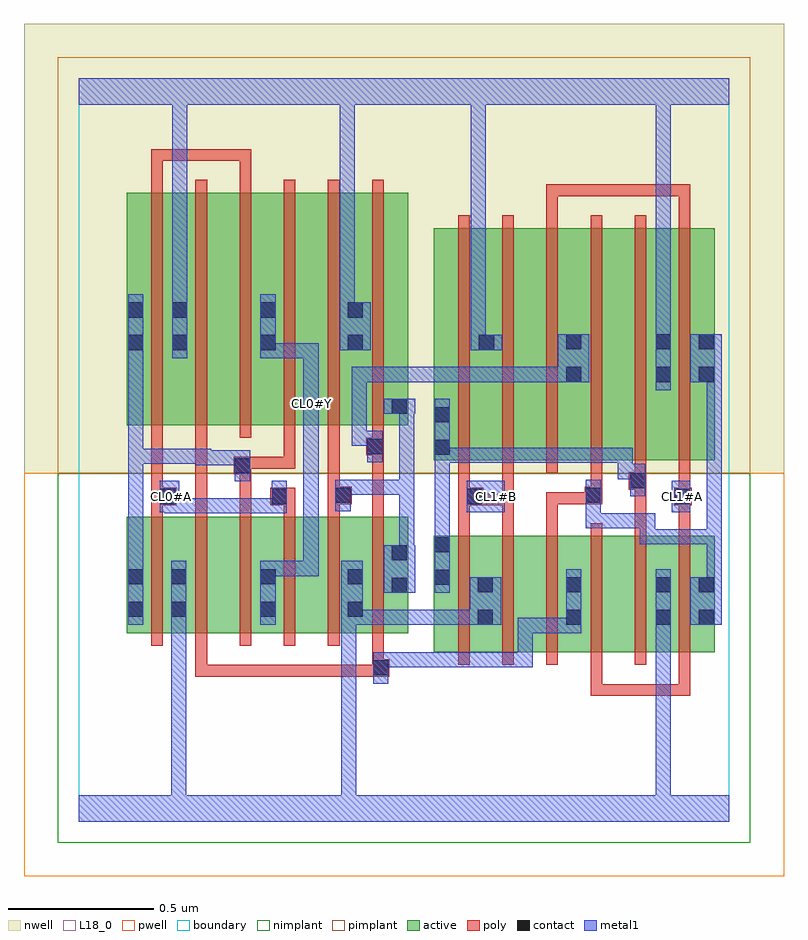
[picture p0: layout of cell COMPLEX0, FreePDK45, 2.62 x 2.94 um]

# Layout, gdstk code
import gdstk
lib = gdstk.Library(unit=1e-6, precision=1e-09)
def R(c, l, rs):  # rectangles x0, y0, x1, y1
    for r in rs: c.add(gdstk.rectangle(r[:2], r[2:], *l))
def A(c, l, x, y, w, h, nx, ny, dx, dy):  # array of equal rectangles
    R(c, l, [(x+i*dx, y+j*dy, x+i*dx+w, y+j*dy+h) for i in range(nx) for j in range(ny)])
active = (1, 0)
pwell = (2, 0)
nwell = (3, 0)
nimplant = (4, 0)
pimplant = (5, 0)
poly = (9, 0)
contact = (10, 0)
metal1 = (11, 0)
L18_0 = (18, 0)
boundary = (235, 0)

complex0 = lib.new_cell('COMPLEX0')
R(complex0, active, [(1.222,0.584,1.43,0.984), (1.37,0.584,1.43,0.984), (1.37,0.584,1.554,0.984), (1.554,0.584,1.734,0.984), (1.674,0.584,1.734,0.846), (1.674,0.584,1.858,0.984), (1.858,0.584,2.042,0.984), (1.982,0.584,2.19,0.984), (1.982,0.584,2.042,0.846), (2.13,0.584,2.19,0.984), (0.166,0.65,0.226,1.05), (0.166,0.65,0.374,1.05), (0.314,0.65,0.498,1.05), (0.314,0.65,0.374,0.874), (0.498,0.65,0.682,1.05), (0.622,0.65,0.802,1.05), (0.622,0.65,0.682,0.874), (0.802,0.65,0.982,1.05), (0.922,0.65,1.134,1.05), (0.922,0.65,0.982,0.874), (1.074,0.756,1.134,1.05), (1.222,0.756,1.282,0.984), (1.222,1.244,1.282,2.044), (1.222,1.244,1.434,2.044), (1.374,1.244,1.554,2.044), (1.554,1.244,1.734,2.044), (1.674,1.244,1.734,2.044), (1.674,1.244,1.858,2.044), (1.858,1.244,2.042,2.044), (1.982,1.244,2.042,2.044), (1.982,1.244,2.19,2.044), (2.13,1.244,2.19,2.044), (1.374,1.348,1.434,2.044), (0.166,1.366,0.378,2.166), (0.166,1.366,0.226,2.044), (0.318,1.366,0.498,2.166), (0.318,1.366,0.378,2.044), (0.498,1.366,0.682,2.166), (0.622,1.366,0.802,2.166), (0.622,1.366,0.682,2.044), (0.802,1.366,0.982,2.166), (0.922,1.366,1.134,2.166), (0.922,1.366,0.982,2.044), (1.074,1.366,1.134,2.044)])
R(complex0, pwell, [(-0.188,-0.188,2.428,1.2)])
R(complex0, nwell, [(-0.188,1.2,2.428,2.748)])
R(complex0, nimplant, [(-0.072,-0.072,2.312,1.2)])
R(complex0, pimplant, [(-0.072,1.2,2.312,2.632)])
A(complex0, poly, 1.306, 0.54, 0.04, 0.488, 6, 1, 0.152, 0)
A(complex0, poly, 0.25, 0.606, 0.04, 0.488, 6, 1, 0.152, 0)
A(complex0, poly, 1.306, 1.2, 0.04, 0.888, 6, 1, 0.152, 0)
A(complex0, poly, 0.25, 1.322, 0.04, 0.888, 6, 1, 0.152, 0)
R(complex0, poly, [(1.762,0.434,1.802,0.58), (1.762,0.434,1.802,0.474), (1.762,0.434,1.802,0.474), (1.762,0.434,1.802,0.474), (1.762,0.434,1.908,0.474), (1.868,0.434,1.908,0.474), (1.868,0.434,2.106,0.474), (2.066,0.434,2.106,0.58), (2.066,0.434,2.106,0.474), (2.066,0.434,2.106,0.474), (2.066,0.434,2.106,0.474), (0.402,0.5,0.442,0.646), (0.402,0.5,0.442,0.54), (0.402,0.5,0.548,0.54), (0.508,0.5,0.548,0.54), (0.508,0.5,0.548,0.54), (0.508,0.5,0.548,0.54), (0.508,0.5,0.792,0.54), (0.752,0.5,0.792,0.54), (0.752,0.5,0.792,0.54), (0.752,0.5,0.792,0.54), (0.752,0.5,0.924,0.54), (0.884,0.5,0.924,0.54), (0.884,0.5,0.924,0.54), (0.884,0.5,0.924,0.54), (0.884,0.5,1.05,0.54), (1.01,0.5,1.05,0.54), (1.01,0.5,1.05,0.54), (1.01,0.5,1.07,0.56), (1.01,0.52,1.05,0.646), (1.306,0.988,1.346,1.13), (1.458,0.988,1.498,1.13), (1.61,0.988,1.65,1.134), (1.914,0.988,1.954,1.184), (2.066,0.988,2.106,1.13), (0.25,1.054,0.29,1.13), (0.402,1.054,0.442,1.326), (0.554,1.054,0.594,1.236), (0.706,1.054,0.746,1.13), (0.858,1.054,0.898,1.134), (1.01,1.054,1.05,1.302), (0.25,1.09,0.336,1.15), (0.66,1.09,0.746,1.15), (1.306,1.09,1.392,1.15), (1.352,1.09,1.392,1.13), (1.352,1.09,1.392,1.13), (1.352,1.09,1.498,1.13), (1.458,1.09,1.498,1.13), (1.458,1.09,1.498,1.13), (1.458,1.09,1.498,1.13), (1.458,1.09,1.498,1.24), (2.05,1.09,2.11,1.15), (2.066,1.09,2.106,1.13), (2.066,1.09,2.106,1.13), (0.858,1.094,0.94,1.154), (1.61,1.094,1.65,1.134), (1.61,1.094,1.65,1.134), (1.61,1.094,1.65,1.134), (1.61,1.094,1.782,1.134), (1.742,1.094,1.802,1.154), (0.25,1.11,0.29,1.15), (0.25,1.11,0.29,1.15), (0.25,1.11,0.29,1.362), (1.306,1.11,1.346,1.15), (1.306,1.11,1.346,1.15), (1.306,1.11,1.346,1.24), (2.066,1.11,2.106,1.24), (0.858,1.114,0.898,1.154), (0.858,1.114,0.898,1.154), (0.858,1.114,0.898,1.362), (1.762,1.114,1.802,1.154), (1.762,1.114,1.802,1.154), (1.762,1.114,1.802,1.24), (1.894,1.144,1.954,1.204), (1.914,1.144,1.954,1.184), (1.914,1.144,1.954,1.184), (1.914,1.164,1.954,1.24), (0.534,1.196,0.594,1.256), (0.554,1.196,0.594,1.236), (0.554,1.196,0.594,1.236), (0.554,1.216,0.746,1.256), (0.706,1.216,0.746,1.362), (0.706,1.216,0.746,1.256), (0.706,1.216,0.746,1.256), (0.706,1.216,0.746,1.256), (0.99,1.262,1.05,1.322), (1.01,1.262,1.05,1.302), (1.01,1.262,1.05,1.302), (1.01,1.282,1.05,1.362), (0.402,1.286,0.442,1.326), (0.402,1.286,0.442,1.326), (0.402,1.286,0.442,1.326), (0.402,1.286,0.442,1.362), (1.61,2.048,1.65,2.194), (2.066,2.048,2.106,2.194), (1.61,2.154,1.65,2.194), (1.61,2.154,1.65,2.194), (1.61,2.154,1.65,2.194), (1.61,2.154,1.802,2.194), (1.762,2.154,1.802,2.194), (1.762,2.154,1.908,2.194), (1.868,2.154,1.908,2.194), (1.868,2.154,1.908,2.194), (1.868,2.154,1.908,2.194), (1.868,2.154,2.106,2.194), (2.066,2.154,2.106,2.194), (2.066,2.154,2.106,2.194), (2.066,2.154,2.106,2.194), (0.25,2.17,0.29,2.316), (0.554,2.17,0.594,2.316), (0.25,2.276,0.29,2.316), (0.25,2.276,0.29,2.316), (0.25,2.276,0.29,2.316), (0.25,2.276,0.396,2.316), (0.356,2.276,0.396,2.316), (0.356,2.276,0.594,2.316), (0.554,2.276,0.594,2.316), (0.554,2.276,0.594,2.316), (0.554,2.276,0.594,2.316)])
R(complex0, contact, [(1.014,0.504,1.066,0.556), (1.374,0.678,1.426,0.73), (1.678,0.678,1.73,0.73), (1.986,0.678,2.038,0.73), (2.134,0.678,2.186,0.73), (0.17,0.706,0.222,0.758), (0.318,0.706,0.37,0.758), (0.626,0.706,0.678,0.758), (0.926,0.706,0.978,0.758), (1.078,0.788,1.13,0.84), (1.374,0.79,1.426,0.842), (1.678,0.79,1.73,0.842), (1.986,0.79,2.038,0.842), (2.134,0.79,2.186,0.842), (1.226,0.816,1.278,0.868), (0.17,0.818,0.222,0.87), (0.318,0.818,0.37,0.87), (0.626,0.818,0.678,0.87), (0.926,0.818,0.978,0.87), (1.078,0.9,1.13,0.952), (1.226,0.928,1.278,0.98), (0.28,1.094,0.332,1.146), (0.664,1.094,0.716,1.146), (1.336,1.094,1.388,1.146), (2.054,1.094,2.106,1.146), (0.884,1.098,0.936,1.15), (1.746,1.098,1.798,1.15), (1.898,1.148,1.95,1.2), (0.538,1.2,0.59,1.252), (1.226,1.264,1.278,1.316), (0.994,1.266,1.046,1.318), (1.226,1.376,1.278,1.428), (1.078,1.404,1.13,1.456), (1.678,1.514,1.73,1.566), (1.986,1.514,2.038,1.566), (2.134,1.514,2.186,1.566), (0.17,1.624,0.222,1.676), (0.322,1.624,0.374,1.676), (0.626,1.624,0.678,1.676), (0.926,1.624,0.978,1.676), (1.378,1.624,1.43,1.676), (1.678,1.626,1.73,1.678), (1.986,1.626,2.038,1.678), (2.134,1.626,2.186,1.678), (0.17,1.736,0.222,1.788), (0.322,1.736,0.374,1.788), (0.626,1.736,0.678,1.788), (0.926,1.736,0.978,1.788)])
R(complex0, metal1, [(0,0,2.24,0.092), (0.318,0.04,0.37,0.092), (0.318,0.04,0.37,0.092), (0.318,0.04,0.37,0.092), (0.318,0.04,0.37,0.092), (0.318,0.04,0.37,0.092), (0.318,0.04,0.37,0.092), (0.318,0.04,0.37,0.092), (0.318,0.04,0.37,0.092), (0.318,0.04,0.37,0.092), (0.318,0.04,0.37,0.092), (0.318,0.04,0.37,0.73), (0.904,0.04,0.956,0.092), (0.904,0.04,0.956,0.092), (0.904,0.04,0.956,0.092), (0.904,0.04,0.956,0.092), (0.904,0.04,0.956,0.092), (0.904,0.04,0.956,0.092), (0.904,0.04,0.956,0.092), (0.904,0.04,0.956,0.092), (0.904,0.04,0.956,0.73), (1.986,0.04,2.038,0.092), (1.986,0.04,2.038,0.092), (1.986,0.04,2.038,0.092), (1.986,0.04,2.038,0.092), (1.986,0.04,2.038,0.092), (1.986,0.04,2.038,0.092), (1.986,0.04,2.038,0.092), (1.986,0.04,2.038,0.092), (1.986,0.04,2.038,0.092), (1.986,0.04,2.038,0.092), (1.986,0.04,2.038,0.092), (1.986,0.04,2.038,0.092), (1.986,0.04,2.038,0.702), (1.014,0.476,1.066,0.584), (1.014,0.532,1.266,0.584), (1.214,0.532,1.266,0.584), (1.214,0.532,1.266,0.584), (1.214,0.532,1.266,0.584), (1.214,0.532,1.388,0.584), (1.336,0.532,1.388,0.584), (1.336,0.532,1.388,0.584), (1.336,0.532,1.388,0.584), (1.336,0.532,1.564,0.584), (1.512,0.532,1.564,0.584), (1.512,0.532,1.564,0.584), (1.512,0.532,1.564,0.584), (1.512,0.532,1.564,0.702), (1.512,0.65,1.564,0.702), (1.512,0.65,1.674,0.702), (1.622,0.65,1.674,0.702), (1.622,0.65,1.73,0.702), (1.678,0.65,1.73,0.87), (1.986,0.65,2.038,0.87), (0.17,0.678,0.222,0.898), (0.318,0.678,0.37,0.73), (0.318,0.678,0.37,0.73), (0.318,0.678,0.37,0.898), (0.626,0.678,0.678,0.898), (0.904,0.678,0.956,0.73), (0.904,0.678,0.956,0.73), (0.904,0.678,0.956,0.73), (0.904,0.678,0.956,0.73), (0.904,0.678,0.978,0.898), (0.926,0.678,1.156,0.73), (1.104,0.678,1.156,0.73), (1.104,0.678,1.156,0.73), (1.104,0.678,1.156,0.73), (1.104,0.678,1.266,0.73), (1.214,0.678,1.266,0.73), (1.214,0.678,1.398,0.73), (1.346,0.678,1.454,0.842), (1.346,0.678,1.398,0.73), (1.346,0.678,1.398,0.73), (2.106,0.678,2.214,0.842), (1.05,0.788,1.158,0.952), (1.226,0.788,1.278,1.008), (2.162,0.79,2.214,1.008), (0.17,0.846,0.222,0.898), (0.17,0.846,0.222,0.898), (0.17,0.846,0.222,1.284), (0.626,0.846,0.826,0.898), (0.774,0.846,0.826,0.898), (0.774,0.846,0.826,0.898), (0.774,0.846,0.826,0.898), (0.774,0.846,0.826,1.438), (1.104,0.9,1.156,1.178), (1.226,0.956,1.278,1.008), (1.226,0.956,1.278,1.008), (1.226,0.956,1.278,1.288), (1.932,0.956,2.048,1.008), (1.932,0.956,1.984,1.062), (1.996,0.956,2.048,1.008), (1.996,0.956,2.214,1.008), (2.162,0.956,2.214,1.566), (2.162,0.956,2.214,1.008), (2.162,0.956,2.214,1.008), (2.162,0.956,2.214,1.008), (2.162,0.956,2.214,1.008), (2.162,0.956,2.214,1.008), (1.746,1.01,1.798,1.122), (1.746,1.01,1.984,1.062), (0.294,1.062,0.456,1.114), (0.294,1.062,0.346,1.118), (0.404,1.062,0.456,1.114), (0.404,1.062,0.456,1.114), (0.404,1.062,0.456,1.114), (0.404,1.062,0.566,1.114), (0.514,1.062,0.566,1.114), (0.514,1.062,0.716,1.114), (0.664,1.062,0.716,1.118), (0.28,1.066,0.346,1.174), (0.294,1.066,0.346,1.118), (0.664,1.066,0.716,1.118), (0.664,1.066,0.716,1.174), (1.336,1.066,1.466,1.174), (2.042,1.066,2.106,1.174), (0.884,1.07,0.936,1.178), (1.746,1.07,1.798,1.122), (1.746,1.07,1.798,1.178), (1.898,1.12,1.95,1.232), (0.884,1.126,0.936,1.178), (0.884,1.126,0.936,1.178), (0.884,1.126,1.156,1.178), (1.104,1.126,1.156,1.178), (1.104,1.126,1.156,1.178), (1.104,1.126,1.156,1.178), (1.104,1.126,1.156,1.456), (0.538,1.172,0.59,1.28), (1.856,1.18,1.95,1.232), (1.856,1.18,1.908,1.288), (0.404,1.228,0.456,1.284), (0.404,1.228,0.59,1.28), (0.17,1.232,0.222,1.284), (0.17,1.232,0.222,1.284), (0.17,1.232,0.222,1.284), (0.17,1.232,0.346,1.284), (0.17,1.232,0.222,1.648), (0.294,1.232,0.346,1.284), (0.294,1.232,0.456,1.284), (0.404,1.232,0.456,1.284), (0.404,1.232,0.456,1.284), (1.226,1.236,1.278,1.288), (1.226,1.236,1.278,1.288), (1.226,1.236,1.278,1.456), (1.226,1.236,1.398,1.288), (1.346,1.236,1.398,1.288), (1.346,1.236,1.398,1.288), (1.346,1.236,1.398,1.288), (1.346,1.236,1.564,1.288), (1.512,1.236,1.564,1.288), (1.512,1.236,1.564,1.288), (1.512,1.236,1.564,1.288), (1.512,1.236,1.674,1.288), (1.622,1.236,1.674,1.288), (1.622,1.236,1.674,1.288), (1.622,1.236,1.674,1.288), (1.622,1.236,1.84,1.288), (1.788,1.236,1.84,1.288), (1.788,1.236,1.908,1.288), (0.994,1.238,1.046,1.346), (0.94,1.294,0.992,1.346), (0.94,1.294,0.992,1.346), (0.94,1.294,0.992,1.346), (0.94,1.294,1.046,1.346), (0.94,1.294,0.992,1.566), (0.774,1.386,0.826,1.494), (1.05,1.404,1.158,1.456), (1.104,1.404,1.156,1.456), (1.104,1.404,1.156,1.456), (0.774,1.442,0.826,1.648), (1.986,1.486,2.038,1.706), (0.94,1.514,0.992,1.566), (0.94,1.514,1.156,1.566), (1.104,1.514,1.156,1.566), (1.104,1.514,1.156,1.566), (1.104,1.514,1.156,1.566), (1.104,1.514,1.278,1.566), (1.226,1.514,1.278,1.566), (1.226,1.514,1.454,1.566), (1.402,1.514,1.454,1.566), (1.402,1.514,1.454,1.566), (1.402,1.514,1.454,1.566), (1.402,1.514,1.454,1.566), (1.402,1.514,1.454,1.566), (1.402,1.514,1.564,1.566), (1.512,1.514,1.564,1.566), (1.512,1.514,1.564,1.566), (1.512,1.514,1.564,1.566), (1.512,1.514,1.688,1.566), (1.636,1.514,1.688,1.566), (1.636,1.514,1.702,1.566), (1.65,1.514,1.758,1.678), (2.106,1.514,2.214,1.678), (0.17,1.596,0.222,1.816), (0.322,1.596,0.374,1.816), (0.626,1.596,0.678,1.816), (0.626,1.596,0.826,1.648), (0.774,1.596,0.826,1.648), (0.774,1.596,0.826,1.648), (0.774,1.596,0.826,1.648), (0.774,1.596,0.826,1.648), (0.774,1.596,0.826,1.648), (0.898,1.624,1.006,1.788), (1.35,1.624,1.402,1.676), (1.35,1.624,1.402,1.676), (1.35,1.624,1.402,1.676), (1.35,1.624,1.402,1.676), (1.35,1.624,1.458,1.676), (1.35,1.624,1.402,2.52), (1.986,1.654,2.038,2.52), (0.898,1.736,0.95,1.788), (0.898,1.736,0.95,1.788), (0.898,1.736,0.95,1.788), (0.898,1.736,0.95,1.788), (0.898,1.736,0.95,2.52), (0.322,1.764,0.374,1.816), (0.322,1.764,0.374,1.816), (0.322,1.764,0.374,2.52), (0,2.468,2.24,2.56), (0.322,2.468,0.374,2.52), (0.322,2.468,0.374,2.52), (0.322,2.468,0.374,2.52), (0.322,2.468,0.374,2.52), (0.322,2.468,0.374,2.52), (0.322,2.468,0.374,2.52), (0.898,2.468,0.95,2.52), (0.898,2.468,0.95,2.52), (0.898,2.468,0.95,2.52), (0.898,2.468,0.95,2.52), (1.35,2.468,1.402,2.52), (1.35,2.468,1.402,2.52), (1.35,2.468,1.402,2.52), (1.35,2.468,1.402,2.52), (1.986,2.468,2.038,2.52), (1.986,2.468,2.038,2.52), (1.986,2.468,2.038,2.52), (1.986,2.468,2.038,2.52), (1.986,2.468,2.038,2.52), (1.986,2.468,2.038,2.52), (1.986,2.468,2.038,2.52), (1.986,2.468,2.038,2.52)])
R(complex0, L18_0, [(0,0,2.24,0.092), (0.318,0.04,0.37,0.092), (0.318,0.04,0.37,0.092), (0.318,0.04,0.37,0.092), (0.318,0.04,0.37,0.092), (0.318,0.04,0.37,0.092), (0.318,0.04,0.37,0.092), (0.318,0.04,0.37,0.092), (0.318,0.04,0.37,0.092), (0.318,0.04,0.37,0.092), (0.318,0.04,0.37,0.092), (0.318,0.04,0.37,0.73), (0.904,0.04,0.956,0.092), (0.904,0.04,0.956,0.092), (0.904,0.04,0.956,0.092), (0.904,0.04,0.956,0.092), (0.904,0.04,0.956,0.092), (0.904,0.04,0.956,0.092), (0.904,0.04,0.956,0.092), (0.904,0.04,0.956,0.092), (0.904,0.04,0.956,0.73), (1.986,0.04,2.038,0.092), (1.986,0.04,2.038,0.092), (1.986,0.04,2.038,0.092), (1.986,0.04,2.038,0.092), (1.986,0.04,2.038,0.092), (1.986,0.04,2.038,0.092), (1.986,0.04,2.038,0.092), (1.986,0.04,2.038,0.092), (1.986,0.04,2.038,0.092), (1.986,0.04,2.038,0.092), (1.986,0.04,2.038,0.092), (1.986,0.04,2.038,0.092), (1.986,0.04,2.038,0.702), (1.986,0.65,2.038,0.87), (0.318,0.678,0.37,0.73), (0.318,0.678,0.37,0.73), (0.318,0.678,0.37,0.898), (0.626,0.678,0.678,0.898), (0.904,0.678,0.956,0.73), (0.904,0.678,0.956,0.73), (0.904,0.678,0.956,0.73), (0.904,0.678,0.956,0.73), (0.904,0.678,0.978,0.898), (0.926,0.678,1.156,0.73), (1.104,0.678,1.156,0.73), (1.104,0.678,1.156,0.73), (1.104,0.678,1.156,0.73), (1.104,0.678,1.266,0.73), (1.214,0.678,1.266,0.73), (1.214,0.678,1.398,0.73), (1.346,0.678,1.398,0.73), (1.346,0.678,1.398,0.73), (1.346,0.678,1.454,0.842), (0.626,0.846,0.826,0.898), (0.774,0.846,0.826,0.898), (0.774,0.846,0.826,0.898), (0.774,0.846,0.826,0.898), (0.774,0.846,0.826,1.438), (0.294,1.062,0.346,1.118), (0.294,1.062,0.456,1.114), (0.404,1.062,0.456,1.114), (0.404,1.062,0.456,1.114), (0.404,1.062,0.456,1.114), (0.404,1.062,0.566,1.114), (0.514,1.062,0.566,1.114), (0.514,1.062,0.716,1.114), (0.664,1.062,0.716,1.118), (0.28,1.066,0.346,1.174), (0.294,1.066,0.346,1.118), (0.664,1.066,0.716,1.118), (0.664,1.066,0.716,1.174), (1.336,1.066,1.466,1.174), (2.042,1.066,2.106,1.174), (0.294,1.094,0.346,1.146), (1.414,1.094,1.466,1.146), (2.054,1.094,2.106,1.146), (0.774,1.386,0.826,1.494), (0.774,1.414,0.826,1.466), (0.774,1.442,0.826,1.648), (1.986,1.486,2.038,1.706), (0.322,1.596,0.374,1.816), (0.626,1.596,0.678,1.816), (0.626,1.596,0.826,1.648), (0.774,1.596,0.826,1.648), (0.774,1.596,0.826,1.648), (0.774,1.596,0.826,1.648), (0.774,1.596,0.826,1.648), (0.774,1.596,0.826,1.648), (0.898,1.624,1.006,1.788), (1.35,1.624,1.402,1.676), (1.35,1.624,1.402,1.676), (1.35,1.624,1.402,1.676), (1.35,1.624,1.402,1.676), (1.35,1.624,1.458,1.676), (1.35,1.624,1.402,2.52), (1.986,1.654,2.038,2.52), (0.898,1.736,0.95,1.788), (0.898,1.736,0.95,1.788), (0.898,1.736,0.95,1.788), (0.898,1.736,0.95,1.788), (0.898,1.736,0.95,2.52), (0.322,1.764,0.374,1.816), (0.322,1.764,0.374,1.816), (0.322,1.764,0.374,2.52), (0,2.468,2.24,2.56), (0.322,2.468,0.374,2.52), (0.322,2.468,0.374,2.52), (0.322,2.468,0.374,2.52), (0.322,2.468,0.374,2.52), (0.322,2.468,0.374,2.52), (0.322,2.468,0.374,2.52), (0.898,2.468,0.95,2.52), (0.898,2.468,0.95,2.52), (0.898,2.468,0.95,2.52), (0.898,2.468,0.95,2.52), (1.35,2.468,1.402,2.52), (1.35,2.468,1.402,2.52), (1.35,2.468,1.402,2.52), (1.35,2.468,1.402,2.52), (1.986,2.468,2.038,2.52), (1.986,2.468,2.038,2.52), (1.986,2.468,2.038,2.52), (1.986,2.468,2.038,2.52), (1.986,2.468,2.038,2.52), (1.986,2.468,2.038,2.52), (1.986,2.468,2.038,2.52), (1.986,2.468,2.038,2.52)])
R(complex0, boundary, [(0,0,2.24,2.56)])
complex0.add(gdstk.Label('CL0#A', (0.32,1.12), layer=11, texttype=0))
complex0.add(gdstk.Label('CL0#Y', (0.8,1.44), layer=11, texttype=0))
complex0.add(gdstk.Label('CL1#A', (2.08,1.12), layer=11, texttype=0))
complex0.add(gdstk.Label('CL1#B', (1.44,1.12), layer=11, texttype=0))

lib.write_gds('COMPLEX0.gds')
